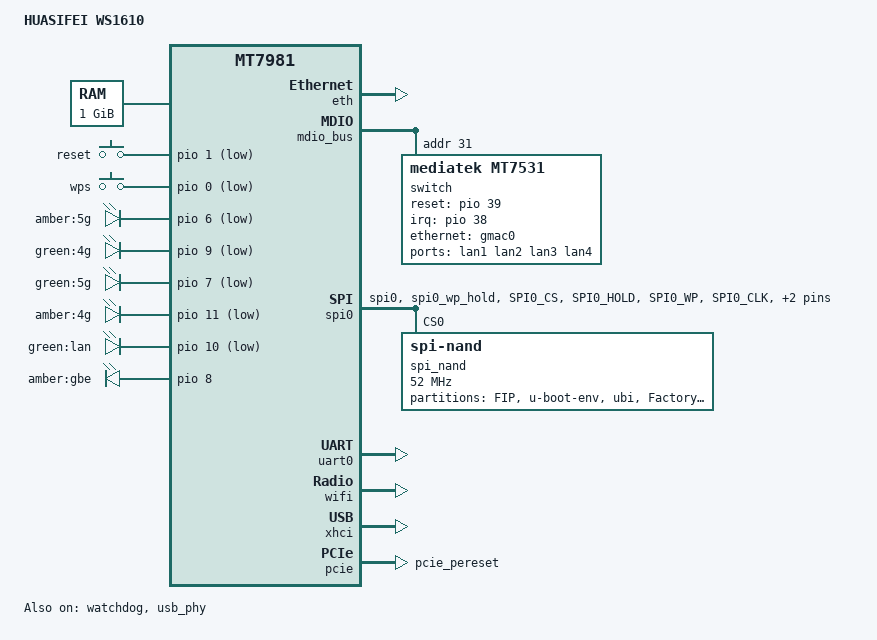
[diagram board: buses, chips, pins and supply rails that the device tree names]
// SPDX-License-Identifier: GPL-2.0-or-later OR MIT

/dts-v1/;

#include <dt-bindings/gpio/gpio.h>
#include <dt-bindings/input/input.h>

#include "mt7981.dtsi"

/ {
	model = "HUASIFEI WS1610";
	compatible = "huasifei,ws1610", "mediatek,mt7981";

	aliases {
		serial0 = &uart0;
		led-boot = &led_status_lan;
		led-failsafe = &led_status_lan;
		led-running = &led_status_lan;
		led-upgrade = &led_status_lan;
	};

	memory@40000000 {
		reg = <0 0x40000000 0 0x40000000>;
	};
	
	chosen {
		stdout-path = "serial0:115200n8";
	};

	gpio-keys {
		compatible = "gpio-keys";

		reset {
			label = "reset";
			linux,code = <KEY_RESTART>;
			gpios = <&pio 1 GPIO_ACTIVE_LOW>;
		};

		wps {
			label = "wps";
			linux,code = <KEY_WPS_BUTTON>;
			gpios = <&pio 0 GPIO_ACTIVE_LOW>;
		};
		
	};

	leds {
		compatible = "gpio-leds";

		led_status_red: red {
			label = "amber:5g";
			gpios = <&pio 6 GPIO_ACTIVE_LOW>;
		};

		led_status_green: green {
			label = "green:4g";
			gpios = <&pio 9 GPIO_ACTIVE_LOW>;
		};
		
		led_status_blue: blue {
			label = "green:5g";
			gpios = <&pio 7 GPIO_ACTIVE_LOW>;
		};
		
		led_status_4g: 4g {
			label = "amber:4g";
			gpios = <&pio 11 GPIO_ACTIVE_LOW>;
		};
		
		led_status_lan: lan {
			label = "green:lan";
			gpios = <&pio 10 GPIO_ACTIVE_LOW>;
		};
		
		led_status_wan: wan {
			label = "amber:gbe";
			gpios = <&pio 8 GPIO_ACTIVE_HIGH>;
		};

	};
};

&eth {
	status = "okay";

	gmac0: mac@0 {
		compatible = "mediatek,eth-mac";
		reg = <0>;
		phy-mode = "2500base-x";
		nvmem-cell-names = "mac-address";
		nvmem-cells = <&macaddr_factory_004>;

		fixed-link {
			speed = <2500>;
			full-duplex;
			pause;
		};
	};
	
	gmac1: mac@1 {
		compatible = "mediatek,eth-mac";
		reg = <1>;
		phy-mode = "gmii";
		phy-handle = <&int_gbe_phy>;
	};
};

&mdio_bus {
	rtl8221 = <1>;
 
	switch: switch@0 {
		compatible = "mediatek,mt7531";
		reg = <31>;
		reset-gpios = <&pio 39 GPIO_ACTIVE_HIGH>;
		interrupt-controller;
		#interrupt-cells = <1>;
		interrupt-parent = <&pio>;
		interrupts = <38 IRQ_TYPE_LEVEL_HIGH>;
		rtl8221 = <1>;
	};
};

&spi0 {
	pinctrl-names = "default";
	pinctrl-0 = <&spi0_flash_pins>;
	status = "okay";

	spi_nand@0 {
		compatible = "spi-nand";
		#address-cells = <1>;
		#size-cells = <1>;
		reg = <0>;

		spi-max-frequency = <52000000>;
		spi-tx-buswidth = <4>;
		spi-rx-buswidth = <4>;
		
		mediatek,nmbm;
		mediatek,bmt-max-ratio = <1>;
		mediatek,bmt-max-reserved-blocks = <64>;

		partitions {
			compatible = "fixed-partitions";
			#address-cells = <1>;
			#size-cells = <1>;

			partition@380000 {
				label = "FIP";
				reg = <0x380000 0x200000>;
			};

			partition@100000 {
				label = "u-boot-env";
				reg = <0x100000 0x80000>;
			};

			partition@580000 {
				label = "ubi";
				reg = <0x580000 0xf880000>;
			};

			factory: partition@180000 {
				label = "Factory";
				reg = <0x180000 0x200000>;
			};

			partition@0 {
				label = "BL2";
				reg = <0x00 0x100000>;
				read-only;
			};
		};
	};
};

&switch {
	ports {
		#address-cells = <1>;
		#size-cells = <0>;

		port@0 {
			reg = <0>;
			label = "lan1";
			nvmem-cell-names = "mac-address";
			nvmem-cells = <&macaddr_factory_004>;
			mac-address-increment = <1>;
		};

		port@1 {
			reg = <1>;
			label = "lan2";
			nvmem-cell-names = "mac-address";
			nvmem-cells = <&macaddr_factory_004>;
			mac-address-increment = <1>;
		};

		port@2 {
			reg = <2>;
			label = "lan3";
			nvmem-cell-names = "mac-address";
			nvmem-cells = <&macaddr_factory_004>;
			mac-address-increment = <1>;
		};

		port@3 {
			reg = <3>;
			label = "lan4";
			nvmem-cell-names = "mac-address";
			nvmem-cells = <&macaddr_factory_004>;
			mac-address-increment = <1>;
		};

		port@6 {
			reg = <6>;
			ethernet = <&gmac0>;
			phy-mode = "2500base-x";

			fixed-link {
				speed = <2500>;
				full-duplex;
				pause;
			};
		};
	};
};

&pio {
	spi0_flash_pins: spi0-pins {
		mux {
			function = "spi";
			groups = "spi0", "spi0_wp_hold";
		};

		conf-pu {
			pins = "SPI0_CS", "SPI0_HOLD", "SPI0_WP";
			drive-strength = <8>;
			mediatek,pull-up-adv = <0>; /* bias-disable */
		};

		conf-pd {
			pins = "SPI0_CLK", "SPI0_MOSI", "SPI0_MISO";
			drive-strength = <8>;
			mediatek,pull-up-adv = <0>; /* bias-disable */
		};
	};
	
	pcie_pins: pcie-pins {
		mux {
			function = "pcie";
			groups = "pcie_pereset";
		};
	};
};

&uart0 {
	status = "okay";
};

&watchdog {
	status = "okay";
};

&wifi {
	status = "okay";

	mediatek,mtd-eeprom = <&factory 0x0>;
};

&usb_phy {
	status = "okay";
};

&xhci {
	status = "okay";
};

&pcie {
	pinctrl-names = "default";
	pinctrl-0 = <&pcie_pins>;
	status = "okay";
};

&factory {
	compatible = "nvmem-cells";
	#address-cells = <1>;
	#size-cells = <1>;

	macaddr_factory_004: macaddr@004 {
		reg = <0x004 0x6>;
	};
};
